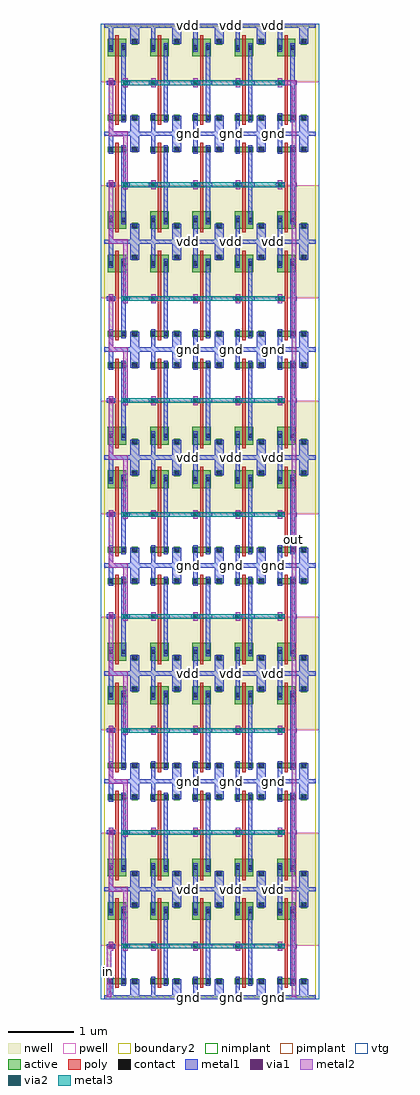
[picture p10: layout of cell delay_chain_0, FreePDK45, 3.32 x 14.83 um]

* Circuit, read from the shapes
.subckt delay_chain_0 gnd in out vdd
M1 pinv_18_1/A in gnd gnd nfet w=0.09u l=0.05u
M2 pinv_18_10/A pinv_18_1/A gnd gnd nfet w=0.09u l=0.05u
M3 pinv_18_11/A pinv_18_10/A gnd gnd nfet w=0.09u l=0.05u
M4 pinv_18_16/A pinv_18_11/A gnd gnd nfet w=0.09u l=0.05u
M5 pinv_18_21/A pinv_18_16/A gnd gnd nfet w=0.09u l=0.05u
M6 pinv_18_26/A pinv_18_21/A gnd gnd nfet w=0.09u l=0.05u
M7 pinv_18_31/A pinv_18_26/A gnd gnd nfet w=0.09u l=0.05u
M8 pinv_18_36/A pinv_18_31/A gnd gnd nfet w=0.09u l=0.05u
M9 out pinv_18_36/A gnd gnd nfet w=0.09u l=0.05u
M10 pinv_18_1/Z pinv_18_1/A gnd gnd nfet w=0.09u l=0.05u
M11 pinv_18_6/Z pinv_18_10/A gnd gnd nfet w=0.09u l=0.05u
M12 pinv_18_11/Z pinv_18_11/A gnd gnd nfet w=0.09u l=0.05u
M13 pinv_18_16/Z pinv_18_16/A gnd gnd nfet w=0.09u l=0.05u
M14 pinv_18_21/Z pinv_18_21/A gnd gnd nfet w=0.09u l=0.05u
M15 pinv_18_26/Z pinv_18_26/A gnd gnd nfet w=0.09u l=0.05u
M16 pinv_18_31/Z pinv_18_31/A gnd gnd nfet w=0.09u l=0.05u
M17 pinv_18_36/Z pinv_18_36/A gnd gnd nfet w=0.09u l=0.05u
M18 pinv_18_41/Z out gnd gnd nfet w=0.09u l=0.05u
M19 pinv_18_2/Z pinv_18_1/A gnd gnd nfet w=0.09u l=0.05u
M20 pinv_18_7/Z pinv_18_10/A gnd gnd nfet w=0.09u l=0.05u
M21 pinv_18_12/Z pinv_18_11/A gnd gnd nfet w=0.09u l=0.05u
M22 pinv_18_17/Z pinv_18_16/A gnd gnd nfet w=0.09u l=0.05u
M23 pinv_18_22/Z pinv_18_21/A gnd gnd nfet w=0.09u l=0.05u
M24 pinv_18_27/Z pinv_18_26/A gnd gnd nfet w=0.09u l=0.05u
M25 pinv_18_32/Z pinv_18_31/A gnd gnd nfet w=0.09u l=0.05u
M26 pinv_18_37/Z pinv_18_36/A gnd gnd nfet w=0.09u l=0.05u
M27 pinv_18_42/Z out gnd gnd nfet w=0.09u l=0.05u
M28 pinv_18_3/Z pinv_18_1/A gnd gnd nfet w=0.09u l=0.05u
M29 pinv_18_8/Z pinv_18_10/A gnd gnd nfet w=0.09u l=0.05u
M30 pinv_18_13/Z pinv_18_11/A gnd gnd nfet w=0.09u l=0.05u
M31 pinv_18_18/Z pinv_18_16/A gnd gnd nfet w=0.09u l=0.05u
M32 pinv_18_23/Z pinv_18_21/A gnd gnd nfet w=0.09u l=0.05u
M33 pinv_18_28/Z pinv_18_26/A gnd gnd nfet w=0.09u l=0.05u
M34 pinv_18_33/Z pinv_18_31/A gnd gnd nfet w=0.09u l=0.05u
M35 pinv_18_38/Z pinv_18_36/A gnd gnd nfet w=0.09u l=0.05u
M36 pinv_18_43/Z out gnd gnd nfet w=0.09u l=0.05u
M37 pinv_18_4/Z pinv_18_1/A gnd gnd nfet w=0.09u l=0.05u
M38 pinv_18_9/Z pinv_18_10/A gnd gnd nfet w=0.09u l=0.05u
M39 pinv_18_14/Z pinv_18_11/A gnd gnd nfet w=0.09u l=0.05u
M40 pinv_18_19/Z pinv_18_16/A gnd gnd nfet w=0.09u l=0.05u
M41 pinv_18_24/Z pinv_18_21/A gnd gnd nfet w=0.09u l=0.05u
M42 pinv_18_29/Z pinv_18_26/A gnd gnd nfet w=0.09u l=0.05u
M43 pinv_18_34/Z pinv_18_31/A gnd gnd nfet w=0.09u l=0.05u
M44 pinv_18_39/Z pinv_18_36/A gnd gnd nfet w=0.09u l=0.05u
M45 pinv_18_44/Z out gnd gnd nfet w=0.09u l=0.05u
M46 pinv_18_1/A in vdd vdd pfet w=0.27u l=0.05u
M47 pinv_18_10/A pinv_18_1/A vdd vdd pfet w=0.27u l=0.05u
M48 pinv_18_11/A pinv_18_10/A vdd vdd pfet w=0.27u l=0.05u
M49 pinv_18_16/A pinv_18_11/A vdd vdd pfet w=0.27u l=0.05u
M50 pinv_18_21/A pinv_18_16/A vdd vdd pfet w=0.27u l=0.05u
M51 pinv_18_26/A pinv_18_21/A vdd vdd pfet w=0.27u l=0.05u
M52 pinv_18_31/A pinv_18_26/A vdd vdd pfet w=0.27u l=0.05u
M53 pinv_18_36/A pinv_18_31/A vdd vdd pfet w=0.27u l=0.05u
M54 out pinv_18_36/A vdd vdd pfet w=0.27u l=0.05u
M55 pinv_18_1/Z pinv_18_1/A vdd vdd pfet w=0.27u l=0.05u
M56 pinv_18_6/Z pinv_18_10/A vdd vdd pfet w=0.27u l=0.05u
M57 pinv_18_11/Z pinv_18_11/A vdd vdd pfet w=0.27u l=0.05u
M58 pinv_18_16/Z pinv_18_16/A vdd vdd pfet w=0.27u l=0.05u
M59 pinv_18_21/Z pinv_18_21/A vdd vdd pfet w=0.27u l=0.05u
M60 pinv_18_26/Z pinv_18_26/A vdd vdd pfet w=0.27u l=0.05u
M61 pinv_18_31/Z pinv_18_31/A vdd vdd pfet w=0.27u l=0.05u
M62 pinv_18_36/Z pinv_18_36/A vdd vdd pfet w=0.27u l=0.05u
M63 pinv_18_41/Z out vdd vdd pfet w=0.27u l=0.05u
M64 pinv_18_2/Z pinv_18_1/A vdd vdd pfet w=0.27u l=0.05u
M65 pinv_18_7/Z pinv_18_10/A vdd vdd pfet w=0.27u l=0.05u
M66 pinv_18_12/Z pinv_18_11/A vdd vdd pfet w=0.27u l=0.05u
M67 pinv_18_17/Z pinv_18_16/A vdd vdd pfet w=0.27u l=0.05u
M68 pinv_18_22/Z pinv_18_21/A vdd vdd pfet w=0.27u l=0.05u
M69 pinv_18_27/Z pinv_18_26/A vdd vdd pfet w=0.27u l=0.05u
M70 pinv_18_32/Z pinv_18_31/A vdd vdd pfet w=0.27u l=0.05u
M71 pinv_18_37/Z pinv_18_36/A vdd vdd pfet w=0.27u l=0.05u
M72 pinv_18_42/Z out vdd vdd pfet w=0.27u l=0.05u
M73 pinv_18_3/Z pinv_18_1/A vdd vdd pfet w=0.27u l=0.05u
M74 pinv_18_8/Z pinv_18_10/A vdd vdd pfet w=0.27u l=0.05u
M75 pinv_18_13/Z pinv_18_11/A vdd vdd pfet w=0.27u l=0.05u
M76 pinv_18_18/Z pinv_18_16/A vdd vdd pfet w=0.27u l=0.05u
M77 pinv_18_23/Z pinv_18_21/A vdd vdd pfet w=0.27u l=0.05u
M78 pinv_18_28/Z pinv_18_26/A vdd vdd pfet w=0.27u l=0.05u
M79 pinv_18_33/Z pinv_18_31/A vdd vdd pfet w=0.27u l=0.05u
M80 pinv_18_38/Z pinv_18_36/A vdd vdd pfet w=0.27u l=0.05u
M81 pinv_18_43/Z out vdd vdd pfet w=0.27u l=0.05u
M82 pinv_18_4/Z pinv_18_1/A vdd vdd pfet w=0.27u l=0.05u
M83 pinv_18_9/Z pinv_18_10/A vdd vdd pfet w=0.27u l=0.05u
M84 pinv_18_14/Z pinv_18_11/A vdd vdd pfet w=0.27u l=0.05u
M85 pinv_18_19/Z pinv_18_16/A vdd vdd pfet w=0.27u l=0.05u
M86 pinv_18_24/Z pinv_18_21/A vdd vdd pfet w=0.27u l=0.05u
M87 pinv_18_29/Z pinv_18_26/A vdd vdd pfet w=0.27u l=0.05u
M88 pinv_18_34/Z pinv_18_31/A vdd vdd pfet w=0.27u l=0.05u
M89 pinv_18_39/Z pinv_18_36/A vdd vdd pfet w=0.27u l=0.05u
M90 pinv_18_44/Z out vdd vdd pfet w=0.27u l=0.05u
.ends

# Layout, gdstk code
import gdstk
lib = gdstk.Library(unit=1e-6, precision=5e-10)
def R(c, l, rs):  # rectangles x0, y0, x1, y1
    for r in rs: c.add(gdstk.rectangle(r[:2], r[2:], *l))
def A(c, l, x, y, w, h, nx, ny, dx, dy):  # array of equal rectangles
    R(c, l, [(x+i*dx, y+j*dy, x+i*dx+w, y+j*dy+h) for i in range(nx) for j in range(ny)])
active = (1, 0)
pwell = (2, 0)
nwell = (3, 0)
nimplant = (4, 0)
pimplant = (5, 0)
vtg = (6, 0)
poly = (9, 0)
contact = (10, 0)
metal1 = (11, 0)
via1 = (12, 0)
metal2 = (13, 0)
via2 = (14, 0)
metal3 = (15, 0)
boundary2 = (239, 0)

contact_11 = lib.new_cell('contact_11')
R(contact_11, active, [(0,0.0225,0.09,0.1125)])
R(contact_11, nwell, [(-0.055,-0.0325,0.145,0.1675)])
R(contact_11, pimplant, [(0,0.0225,0.09,0.1125)])
R(contact_11, contact, [(0.0125,0.035,0.0775,0.1)])
R(contact_11, metal1, [(0.0125,0,0.0775,0.135)])

pmos_m1_w0_270_a_p = lib.new_cell('pmos_m1_w0_270_a_p')
R(pmos_m1_w0_270_a_p, active, [(0,0,0.28,0.27)])
R(pmos_m1_w0_270_a_p, nwell, [(-0.055,-0.055,0.335,0.325)])
R(pmos_m1_w0_270_a_p, pimplant, [(0,0,0.28,0.27)])
R(pmos_m1_w0_270_a_p, vtg, [(-0.055,-0.055,0.335,0.325)])
R(pmos_m1_w0_270_a_p, poly, [(0.115,-0.055,0.165,0.325), (0.115,-0.055,0.165,0.325)])
R(pmos_m1_w0_270_a_p, metal1, [(0.0125,0.0675,0.0775,0.2025), (0.2025,0.0675,0.2675,0.2025)])
R(pmos_m1_w0_270_a_p, boundary2, [(-0.055,-0.055,0.335,0.325)])
pmos_m1_w0_270_a_p.add(gdstk.Reference(contact_11, (0,0.0675)))
pmos_m1_w0_270_a_p.add(gdstk.Reference(contact_11, (0.19,0.0675)))
pmos_m1_w0_270_a_p.add(gdstk.Label('G', (0.14,0.135), layer=9, texttype=0))
pmos_m1_w0_270_a_p.add(gdstk.Label('S', (0.045,0.135), layer=11, texttype=0))
pmos_m1_w0_270_a_p.add(gdstk.Label('D', (0.235,0.135), layer=11, texttype=0))

contact_16 = lib.new_cell('contact_16')
R(contact_16, active, [(0,0.0225,0.09,0.1125)])
R(contact_16, pwell, [(-0.055,-0.0325,0.145,0.1675)])
R(contact_16, nimplant, [(0,0.0225,0.09,0.1125)])
R(contact_16, contact, [(0.0125,0.035,0.0775,0.1)])
R(contact_16, metal1, [(0.0125,0,0.0775,0.135)])

nmos_m1_w0_090_a_p = lib.new_cell('nmos_m1_w0_090_a_p')
R(nmos_m1_w0_090_a_p, active, [(0,0,0.28,0.09)])
R(nmos_m1_w0_090_a_p, pwell, [(-0.055,-0.055,0.335,0.145)])
R(nmos_m1_w0_090_a_p, nimplant, [(0,0,0.28,0.09)])
R(nmos_m1_w0_090_a_p, vtg, [(-0.055,-0.055,0.335,0.145)])
R(nmos_m1_w0_090_a_p, poly, [(0.115,-0.055,0.165,0.145), (0.115,-0.055,0.165,0.145)])
R(nmos_m1_w0_090_a_p, metal1, [(0.0125,-0.0225,0.0775,0.1125), (0.2025,-0.0225,0.2675,0.1125)])
R(nmos_m1_w0_090_a_p, boundary2, [(-0.055,-0.055,0.335,0.145)])
nmos_m1_w0_090_a_p.add(gdstk.Reference(contact_16, (0,-0.0225)))
nmos_m1_w0_090_a_p.add(gdstk.Reference(contact_16, (0.19,-0.0225)))
nmos_m1_w0_090_a_p.add(gdstk.Label('G', (0.14,0.045), layer=9, texttype=0))
nmos_m1_w0_090_a_p.add(gdstk.Label('S', (0.045,0.045), layer=11, texttype=0))
nmos_m1_w0_090_a_p.add(gdstk.Label('D', (0.235,0.045), layer=11, texttype=0))

contact_13 = lib.new_cell('contact_13')
R(contact_13, active, [(0.0225,0,0.1125,0.09)])
R(contact_13, nwell, [(-0.0325,-0.055,0.1675,0.145)])
R(contact_13, nimplant, [(0.0225,0,0.1125,0.09)])
R(contact_13, contact, [(0.035,0.0125,0.1,0.0775)])
R(contact_13, metal1, [(0,0.0125,0.135,0.0775)])

contact_17 = lib.new_cell('contact_17')
R(contact_17, active, [(0.0225,0,0.1125,0.09)])
R(contact_17, pwell, [(-0.0325,-0.055,0.1675,0.145)])
R(contact_17, pimplant, [(0.0225,0,0.1125,0.09)])
R(contact_17, contact, [(0.035,0.0125,0.1,0.0775)])
R(contact_17, metal1, [(0,0.0125,0.135,0.0775)])

contact_12 = lib.new_cell('contact_12')
R(contact_12, poly, [(0.03,0,0.105,0.075)])
R(contact_12, contact, [(0.035,0.005,0.1,0.07)])
R(contact_12, metal1, [(0,0.005,0.135,0.07)])

pinv_18 = lib.new_cell('pinv_18')
R(pinv_18, pwell, [(-0.055,-0.0325,0.6975,0.7875)])
R(pinv_18, nwell, [(-0.055,0.7875,0.6975,1.6725)])
R(pinv_18, vtg, [(-0.055,-0.0325,0.6975,0.7875), (-0.055,0.7875,0.6975,1.6725)])
R(pinv_18, poly, [(0.17,0.34,0.22,1.12), (0.1025,0.7375,0.17,0.8125)])
R(pinv_18, metal1, [(0,-0.0325,0.6425,0.0325), (0.0675,-0.0325,0.1325,0.1725), (0.3925,0,0.5275,0.24), (0.2575,0.1725,0.3225,1.3775), (0.035,0.7425,0.17,0.8075), (0.29,0.7425,0.355,0.8075), (0.0675,1.2425,0.1325,1.6725), (0.3925,1.4,0.5275,1.64), (0,1.6075,0.6425,1.6725)])
R(pinv_18, boundary2, [(0,0,0.6425,1.64)])
pinv_18.add(gdstk.Reference(pmos_m1_w0_270_a_p, (0.055,1.175)))
pinv_18.add(gdstk.Reference(nmos_m1_w0_090_a_p, (0.055,0.195)))
pinv_18.add(gdstk.Reference(contact_13, (0.3925,1.355)))
pinv_18.add(gdstk.Reference(contact_17, (0.3925,0.195)))
pinv_18.add(gdstk.Reference(contact_12, (0.035,0.7375)))
pinv_18.add(gdstk.Label('gnd', (0.321,0), layer=11, texttype=0))
pinv_18.add(gdstk.Label('vdd', (0.321,1.64), layer=11, texttype=0))
pinv_18.add(gdstk.Label('A', (0.1025,0.775), layer=11, texttype=0))
pinv_18.add(gdstk.Label('Z', (0.3225,0.775), layer=11, texttype=0))

contact_19 = lib.new_cell('contact_19')
R(contact_19, metal1, [(0,0.035,0.135,0.1)])
R(contact_19, via1, [(0.035,0.035,0.1,0.1)])
R(contact_19, metal2, [(0.0325,0,0.1025,0.135)])

contact_9 = lib.new_cell('contact_9')
R(contact_9, metal2, [(0.0325,0,0.1025,0.135)])
R(contact_9, via2, [(0.035,0.035,0.1,0.1)])
R(contact_9, metal3, [(0,0.0325,0.135,0.1025)])

contact_7 = lib.new_cell('contact_7')
R(contact_7, metal1, [(0,0.0025,0.135,0.0675)])
R(contact_7, via1, [(0.035,0.0025,0.1,0.0675)])
R(contact_7, metal2, [(0,0,0.135,0.07)])

contact_8 = lib.new_cell('contact_8')
R(contact_8, metal2, [(0,0,0.135,0.07)])
R(contact_8, via2, [(0.035,0.0025,0.1,0.0675)])
R(contact_8, metal3, [(0,0,0.135,0.07)])

delay_chain_0 = lib.new_cell('delay_chain_0')
A(delay_chain_0, metal2, 0.2875, 0.775, 0.07, 0.865, 1, 4, 0, 3.28)
A(delay_chain_0, metal2, 0.0675, 1.605, 0.07, 0.07, 1, 8, 0, 1.64)
A(delay_chain_0, metal2, 0.1025, 1.605, 0.22, 0.07, 1, 8, 0, 1.64)
A(delay_chain_0, metal2, 0.2875, 1.605, 0.07, 0.07, 1, 8, 0, 1.64)
A(delay_chain_0, metal2, 0.0675, 1.64, 0.07, 0.865, 1, 4, 0, 3.28)
A(delay_chain_0, metal2, 0.2875, 2.505, 0.07, 0.775, 1, 4, 0, 3.28)
A(delay_chain_0, metal2, 0.0675, 3.28, 0.07, 0.775, 1, 4, 0, 3.28)
R(delay_chain_0, metal2, [(0.035,0,0.105,0.775), (2.8475,0,2.9175,13.895), (2.8475,0,2.9175,13.895), (2.6725,13.86,2.8825,13.93), (2.8475,13.86,2.9175,13.93)])
A(delay_chain_0, metal3, 1.2175, -0.035, 0.135, 0.07, 3, 10, 0.6425, 1.64)
R(delay_chain_0, metal3, [(0.3225,0.74,2.6725,0.81), (0.3225,2.47,2.6725,2.54), (0.3225,4.02,2.6725,4.09), (0.3225,5.75,2.6725,5.82), (0.3225,7.3,2.6725,7.37), (0.3225,9.03,2.6725,9.1), (0.3225,10.58,2.6725,10.65), (0.3225,12.31,2.6725,12.38), (0.3225,13.86,2.6725,13.93)])
R(delay_chain_0, boundary2, [(0,0,3.2125,14.76)])
delay_chain_0.add(gdstk.Reference(pinv_18, (0,0)))
delay_chain_0.add(gdstk.Reference(pinv_18, (0.6425,0)))
delay_chain_0.add(gdstk.Reference(pinv_18, (1.285,0)))
delay_chain_0.add(gdstk.Reference(pinv_18, (1.9275,0)))
delay_chain_0.add(gdstk.Reference(pinv_18, (2.57,0)))
delay_chain_0.add(gdstk.Reference(pinv_18, (0,3.28), x_reflection=True))
delay_chain_0.add(gdstk.Reference(pinv_18, (0.6425,3.28), x_reflection=True))
delay_chain_0.add(gdstk.Reference(pinv_18, (1.285,3.28), x_reflection=True))
delay_chain_0.add(gdstk.Reference(pinv_18, (1.9275,3.28), x_reflection=True))
delay_chain_0.add(gdstk.Reference(pinv_18, (2.57,3.28), x_reflection=True))
delay_chain_0.add(gdstk.Reference(pinv_18, (0,3.28)))
delay_chain_0.add(gdstk.Reference(pinv_18, (0.6425,3.28)))
delay_chain_0.add(gdstk.Reference(pinv_18, (1.285,3.28)))
delay_chain_0.add(gdstk.Reference(pinv_18, (1.9275,3.28)))
delay_chain_0.add(gdstk.Reference(pinv_18, (2.57,3.28)))
delay_chain_0.add(gdstk.Reference(pinv_18, (0,6.56), x_reflection=True))
delay_chain_0.add(gdstk.Reference(pinv_18, (0.6425,6.56), x_reflection=True))
delay_chain_0.add(gdstk.Reference(pinv_18, (1.285,6.56), x_reflection=True))
delay_chain_0.add(gdstk.Reference(pinv_18, (1.9275,6.56), x_reflection=True))
delay_chain_0.add(gdstk.Reference(pinv_18, (2.57,6.56), x_reflection=True))
delay_chain_0.add(gdstk.Reference(pinv_18, (0,6.56)))
delay_chain_0.add(gdstk.Reference(pinv_18, (0.6425,6.56)))
delay_chain_0.add(gdstk.Reference(pinv_18, (1.285,6.56)))
delay_chain_0.add(gdstk.Reference(pinv_18, (1.9275,6.56)))
delay_chain_0.add(gdstk.Reference(pinv_18, (2.57,6.56)))
delay_chain_0.add(gdstk.Reference(pinv_18, (0,9.84), x_reflection=True))
delay_chain_0.add(gdstk.Reference(pinv_18, (0.6425,9.84), x_reflection=True))
delay_chain_0.add(gdstk.Reference(pinv_18, (1.285,9.84), x_reflection=True))
delay_chain_0.add(gdstk.Reference(pinv_18, (1.9275,9.84), x_reflection=True))
delay_chain_0.add(gdstk.Reference(pinv_18, (2.57,9.84), x_reflection=True))
delay_chain_0.add(gdstk.Reference(pinv_18, (0,9.84)))
delay_chain_0.add(gdstk.Reference(pinv_18, (0.6425,9.84)))
delay_chain_0.add(gdstk.Reference(pinv_18, (1.285,9.84)))
delay_chain_0.add(gdstk.Reference(pinv_18, (1.9275,9.84)))
delay_chain_0.add(gdstk.Reference(pinv_18, (2.57,9.84)))
delay_chain_0.add(gdstk.Reference(pinv_18, (0,13.12), x_reflection=True))
delay_chain_0.add(gdstk.Reference(pinv_18, (0.6425,13.12), x_reflection=True))
delay_chain_0.add(gdstk.Reference(pinv_18, (1.285,13.12), x_reflection=True))
delay_chain_0.add(gdstk.Reference(pinv_18, (1.9275,13.12), x_reflection=True))
delay_chain_0.add(gdstk.Reference(pinv_18, (2.57,13.12), x_reflection=True))
delay_chain_0.add(gdstk.Reference(pinv_18, (0,13.12)))
delay_chain_0.add(gdstk.Reference(pinv_18, (0.6425,13.12)))
delay_chain_0.add(gdstk.Reference(pinv_18, (1.285,13.12)))
delay_chain_0.add(gdstk.Reference(pinv_18, (1.9275,13.12)))
delay_chain_0.add(gdstk.Reference(pinv_18, (2.57,13.12)))
delay_chain_0.add(gdstk.Reference(contact_19, (0.6775,0.7075)))
delay_chain_0.add(gdstk.Reference(contact_9, (0.6775,0.7075)))
delay_chain_0.add(gdstk.Reference(contact_19, (1.32,0.7075)))
delay_chain_0.add(gdstk.Reference(contact_9, (1.32,0.7075)))
delay_chain_0.add(gdstk.Reference(contact_19, (1.9625,0.7075)))
delay_chain_0.add(gdstk.Reference(contact_9, (1.9625,0.7075)))
delay_chain_0.add(gdstk.Reference(contact_19, (2.605,0.7075)))
delay_chain_0.add(gdstk.Reference(contact_9, (2.605,0.7075)))
delay_chain_0.add(gdstk.Reference(contact_19, (0.035,0.7075)))
delay_chain_0.add(gdstk.Reference(contact_19, (0.255,0.7075)))
delay_chain_0.add(gdstk.Reference(contact_9, (0.255,0.7075)))
delay_chain_0.add(gdstk.Reference(contact_19, (0.6775,2.4375)))
delay_chain_0.add(gdstk.Reference(contact_9, (0.6775,2.4375)))
delay_chain_0.add(gdstk.Reference(contact_19, (1.32,2.4375)))
delay_chain_0.add(gdstk.Reference(contact_9, (1.32,2.4375)))
delay_chain_0.add(gdstk.Reference(contact_19, (1.9625,2.4375)))
delay_chain_0.add(gdstk.Reference(contact_9, (1.9625,2.4375)))
delay_chain_0.add(gdstk.Reference(contact_19, (2.605,2.4375)))
delay_chain_0.add(gdstk.Reference(contact_9, (2.605,2.4375)))
delay_chain_0.add(gdstk.Reference(contact_19, (0.035,2.4375)))
delay_chain_0.add(gdstk.Reference(contact_19, (0.255,2.4375)))
delay_chain_0.add(gdstk.Reference(contact_9, (0.255,2.4375)))
delay_chain_0.add(gdstk.Reference(contact_19, (0.6775,3.9875)))
delay_chain_0.add(gdstk.Reference(contact_9, (0.6775,3.9875)))
delay_chain_0.add(gdstk.Reference(contact_19, (1.32,3.9875)))
delay_chain_0.add(gdstk.Reference(contact_9, (1.32,3.9875)))
delay_chain_0.add(gdstk.Reference(contact_19, (1.9625,3.9875)))
delay_chain_0.add(gdstk.Reference(contact_9, (1.9625,3.9875)))
delay_chain_0.add(gdstk.Reference(contact_19, (2.605,3.9875)))
delay_chain_0.add(gdstk.Reference(contact_9, (2.605,3.9875)))
delay_chain_0.add(gdstk.Reference(contact_19, (0.035,3.9875)))
delay_chain_0.add(gdstk.Reference(contact_19, (0.255,3.9875)))
delay_chain_0.add(gdstk.Reference(contact_9, (0.255,3.9875)))
delay_chain_0.add(gdstk.Reference(contact_19, (0.6775,5.7175)))
delay_chain_0.add(gdstk.Reference(contact_9, (0.6775,5.7175)))
delay_chain_0.add(gdstk.Reference(contact_19, (1.32,5.7175)))
delay_chain_0.add(gdstk.Reference(contact_9, (1.32,5.7175)))
delay_chain_0.add(gdstk.Reference(contact_19, (1.9625,5.7175)))
delay_chain_0.add(gdstk.Reference(contact_9, (1.9625,5.7175)))
delay_chain_0.add(gdstk.Reference(contact_19, (2.605,5.7175)))
delay_chain_0.add(gdstk.Reference(contact_9, (2.605,5.7175)))
delay_chain_0.add(gdstk.Reference(contact_19, (0.035,5.7175)))
delay_chain_0.add(gdstk.Reference(contact_19, (0.255,5.7175)))
delay_chain_0.add(gdstk.Reference(contact_9, (0.255,5.7175)))
delay_chain_0.add(gdstk.Reference(contact_19, (0.6775,7.2675)))
delay_chain_0.add(gdstk.Reference(contact_9, (0.6775,7.2675)))
delay_chain_0.add(gdstk.Reference(contact_19, (1.32,7.2675)))
delay_chain_0.add(gdstk.Reference(contact_9, (1.32,7.2675)))
delay_chain_0.add(gdstk.Reference(contact_19, (1.9625,7.2675)))
delay_chain_0.add(gdstk.Reference(contact_9, (1.9625,7.2675)))
delay_chain_0.add(gdstk.Reference(contact_19, (2.605,7.2675)))
delay_chain_0.add(gdstk.Reference(contact_9, (2.605,7.2675)))
delay_chain_0.add(gdstk.Reference(contact_19, (0.035,7.2675)))
delay_chain_0.add(gdstk.Reference(contact_19, (0.255,7.2675)))
delay_chain_0.add(gdstk.Reference(contact_9, (0.255,7.2675)))
delay_chain_0.add(gdstk.Reference(contact_19, (0.6775,8.9975)))
delay_chain_0.add(gdstk.Reference(contact_9, (0.6775,8.9975)))
delay_chain_0.add(gdstk.Reference(contact_19, (1.32,8.9975)))
delay_chain_0.add(gdstk.Reference(contact_9, (1.32,8.9975)))
delay_chain_0.add(gdstk.Reference(contact_19, (1.9625,8.9975)))
delay_chain_0.add(gdstk.Reference(contact_9, (1.9625,8.9975)))
delay_chain_0.add(gdstk.Reference(contact_19, (2.605,8.9975)))
delay_chain_0.add(gdstk.Reference(contact_9, (2.605,8.9975)))
delay_chain_0.add(gdstk.Reference(contact_19, (0.035,8.9975)))
delay_chain_0.add(gdstk.Reference(contact_19, (0.255,8.9975)))
delay_chain_0.add(gdstk.Reference(contact_9, (0.255,8.9975)))
delay_chain_0.add(gdstk.Reference(contact_19, (0.6775,10.5475)))
delay_chain_0.add(gdstk.Reference(contact_9, (0.6775,10.5475)))
delay_chain_0.add(gdstk.Reference(contact_19, (1.32,10.5475)))
delay_chain_0.add(gdstk.Reference(contact_9, (1.32,10.5475)))
delay_chain_0.add(gdstk.Reference(contact_19, (1.9625,10.5475)))
delay_chain_0.add(gdstk.Reference(contact_9, (1.9625,10.5475)))
delay_chain_0.add(gdstk.Reference(contact_19, (2.605,10.5475)))
delay_chain_0.add(gdstk.Reference(contact_9, (2.605,10.5475)))
delay_chain_0.add(gdstk.Reference(contact_19, (0.035,10.5475)))
delay_chain_0.add(gdstk.Reference(contact_19, (0.255,10.5475)))
delay_chain_0.add(gdstk.Reference(contact_9, (0.255,10.5475)))
delay_chain_0.add(gdstk.Reference(contact_19, (0.6775,12.2775)))
delay_chain_0.add(gdstk.Reference(contact_9, (0.6775,12.2775)))
delay_chain_0.add(gdstk.Reference(contact_19, (1.32,12.2775)))
delay_chain_0.add(gdstk.Reference(contact_9, (1.32,12.2775)))
delay_chain_0.add(gdstk.Reference(contact_19, (1.9625,12.2775)))
delay_chain_0.add(gdstk.Reference(contact_9, (1.9625,12.2775)))
delay_chain_0.add(gdstk.Reference(contact_19, (2.605,12.2775)))
delay_chain_0.add(gdstk.Reference(contact_9, (2.605,12.2775)))
delay_chain_0.add(gdstk.Reference(contact_19, (0.035,12.2775)))
delay_chain_0.add(gdstk.Reference(contact_19, (0.255,12.2775)))
delay_chain_0.add(gdstk.Reference(contact_9, (0.255,12.2775)))
delay_chain_0.add(gdstk.Reference(contact_19, (0.6775,13.8275)))
delay_chain_0.add(gdstk.Reference(contact_9, (0.6775,13.8275)))
delay_chain_0.add(gdstk.Reference(contact_19, (1.32,13.8275)))
delay_chain_0.add(gdstk.Reference(contact_9, (1.32,13.8275)))
delay_chain_0.add(gdstk.Reference(contact_19, (1.9625,13.8275)))
delay_chain_0.add(gdstk.Reference(contact_9, (1.9625,13.8275)))
delay_chain_0.add(gdstk.Reference(contact_19, (2.605,13.8275)))
delay_chain_0.add(gdstk.Reference(contact_9, (2.605,13.8275)))
delay_chain_0.add(gdstk.Reference(contact_19, (0.035,13.8275)))
delay_chain_0.add(gdstk.Reference(contact_19, (0.255,13.8275)))
delay_chain_0.add(gdstk.Reference(contact_9, (0.255,13.8275)))
delay_chain_0.add(gdstk.Reference(contact_7, (1.2175,1.605)))
delay_chain_0.add(gdstk.Reference(contact_8, (1.2175,1.605)))
delay_chain_0.add(gdstk.Reference(contact_7, (1.2175,-0.035)))
delay_chain_0.add(gdstk.Reference(contact_8, (1.2175,-0.035)))
delay_chain_0.add(gdstk.Reference(contact_7, (1.86,1.605)))
delay_chain_0.add(gdstk.Reference(contact_8, (1.86,1.605)))
delay_chain_0.add(gdstk.Reference(contact_7, (1.86,-0.035)))
delay_chain_0.add(gdstk.Reference(contact_8, (1.86,-0.035)))
delay_chain_0.add(gdstk.Reference(contact_7, (2.5025,1.605)))
delay_chain_0.add(gdstk.Reference(contact_8, (2.5025,1.605)))
delay_chain_0.add(gdstk.Reference(contact_7, (2.5025,-0.035)))
delay_chain_0.add(gdstk.Reference(contact_8, (2.5025,-0.035)))
delay_chain_0.add(gdstk.Reference(contact_7, (1.2175,4.885)))
delay_chain_0.add(gdstk.Reference(contact_8, (1.2175,4.885)))
delay_chain_0.add(gdstk.Reference(contact_7, (1.2175,3.245)))
delay_chain_0.add(gdstk.Reference(contact_8, (1.2175,3.245)))
delay_chain_0.add(gdstk.Reference(contact_7, (1.86,4.885)))
delay_chain_0.add(gdstk.Reference(contact_8, (1.86,4.885)))
delay_chain_0.add(gdstk.Reference(contact_7, (1.86,3.245)))
delay_chain_0.add(gdstk.Reference(contact_8, (1.86,3.245)))
delay_chain_0.add(gdstk.Reference(contact_7, (2.5025,4.885)))
delay_chain_0.add(gdstk.Reference(contact_8, (2.5025,4.885)))
delay_chain_0.add(gdstk.Reference(contact_7, (2.5025,3.245)))
delay_chain_0.add(gdstk.Reference(contact_8, (2.5025,3.245)))
delay_chain_0.add(gdstk.Reference(contact_7, (1.2175,8.165)))
delay_chain_0.add(gdstk.Reference(contact_8, (1.2175,8.165)))
delay_chain_0.add(gdstk.Reference(contact_7, (1.2175,6.525)))
delay_chain_0.add(gdstk.Reference(contact_8, (1.2175,6.525)))
delay_chain_0.add(gdstk.Reference(contact_7, (1.86,8.165)))
delay_chain_0.add(gdstk.Reference(contact_8, (1.86,8.165)))
delay_chain_0.add(gdstk.Reference(contact_7, (1.86,6.525)))
delay_chain_0.add(gdstk.Reference(contact_8, (1.86,6.525)))
delay_chain_0.add(gdstk.Reference(contact_7, (2.5025,8.165)))
delay_chain_0.add(gdstk.Reference(contact_8, (2.5025,8.165)))
delay_chain_0.add(gdstk.Reference(contact_7, (2.5025,6.525)))
delay_chain_0.add(gdstk.Reference(contact_8, (2.5025,6.525)))
delay_chain_0.add(gdstk.Reference(contact_7, (1.2175,11.445)))
delay_chain_0.add(gdstk.Reference(contact_8, (1.2175,11.445)))
delay_chain_0.add(gdstk.Reference(contact_7, (1.2175,9.805)))
delay_chain_0.add(gdstk.Reference(contact_8, (1.2175,9.805)))
delay_chain_0.add(gdstk.Reference(contact_7, (1.86,11.445)))
delay_chain_0.add(gdstk.Reference(contact_8, (1.86,11.445)))
delay_chain_0.add(gdstk.Reference(contact_7, (1.86,9.805)))
delay_chain_0.add(gdstk.Reference(contact_8, (1.86,9.805)))
delay_chain_0.add(gdstk.Reference(contact_7, (2.5025,11.445)))
delay_chain_0.add(gdstk.Reference(contact_8, (2.5025,11.445)))
delay_chain_0.add(gdstk.Reference(contact_7, (2.5025,9.805)))
delay_chain_0.add(gdstk.Reference(contact_8, (2.5025,9.805)))
delay_chain_0.add(gdstk.Reference(contact_7, (1.2175,14.725)))
delay_chain_0.add(gdstk.Reference(contact_8, (1.2175,14.725)))
delay_chain_0.add(gdstk.Reference(contact_7, (1.2175,13.085)))
delay_chain_0.add(gdstk.Reference(contact_8, (1.2175,13.085)))
delay_chain_0.add(gdstk.Reference(contact_7, (1.86,14.725)))
delay_chain_0.add(gdstk.Reference(contact_8, (1.86,14.725)))
delay_chain_0.add(gdstk.Reference(contact_7, (1.86,13.085)))
delay_chain_0.add(gdstk.Reference(contact_8, (1.86,13.085)))
delay_chain_0.add(gdstk.Reference(contact_7, (2.5025,14.725)))
delay_chain_0.add(gdstk.Reference(contact_8, (2.5025,14.725)))
delay_chain_0.add(gdstk.Reference(contact_7, (2.5025,13.085)))
delay_chain_0.add(gdstk.Reference(contact_8, (2.5025,13.085)))
delay_chain_0.add(gdstk.Reference(contact_7, (1.2175,13.085)))
delay_chain_0.add(gdstk.Reference(contact_8, (1.2175,13.085)))
delay_chain_0.add(gdstk.Reference(contact_7, (1.86,13.085)))
delay_chain_0.add(gdstk.Reference(contact_8, (1.86,13.085)))
delay_chain_0.add(gdstk.Reference(contact_7, (2.5025,13.085)))
delay_chain_0.add(gdstk.Reference(contact_8, (2.5025,13.085)))
delay_chain_0.add(gdstk.Reference(contact_19, (0.035,0.7075)))
delay_chain_0.add(gdstk.Reference(contact_19, (2.605,13.8275)))
delay_chain_0.add(gdstk.Label('vdd', (1.9275,11.48), layer=15, texttype=0))
delay_chain_0.add(gdstk.Label('vdd', (1.285,4.92), layer=15, texttype=0))
delay_chain_0.add(gdstk.Label('vdd', (2.57,4.92), layer=15, texttype=0))
delay_chain_0.add(gdstk.Label('vdd', (1.9275,4.92), layer=15, texttype=0))
delay_chain_0.add(gdstk.Label('vdd', (2.57,1.64), layer=15, texttype=0))
delay_chain_0.add(gdstk.Label('vdd', (1.285,11.48), layer=15, texttype=0))
delay_chain_0.add(gdstk.Label('vdd', (2.57,8.2), layer=15, texttype=0))
delay_chain_0.add(gdstk.Label('vdd', (1.285,14.76), layer=15, texttype=0))
delay_chain_0.add(gdstk.Label('vdd', (1.9275,14.76), layer=15, texttype=0))
delay_chain_0.add(gdstk.Label('vdd', (2.57,11.48), layer=15, texttype=0))
delay_chain_0.add(gdstk.Label('vdd', (1.9275,1.64), layer=15, texttype=0))
delay_chain_0.add(gdstk.Label('vdd', (2.57,14.76), layer=15, texttype=0))
delay_chain_0.add(gdstk.Label('vdd', (1.9275,8.2), layer=15, texttype=0))
delay_chain_0.add(gdstk.Label('vdd', (1.285,1.64), layer=15, texttype=0))
delay_chain_0.add(gdstk.Label('vdd', (1.285,8.2), layer=15, texttype=0))
delay_chain_0.add(gdstk.Label('gnd', (2.57,0), layer=15, texttype=0))
delay_chain_0.add(gdstk.Label('gnd', (1.285,6.56), layer=15, texttype=0))
delay_chain_0.add(gdstk.Label('gnd', (1.9275,13.12), layer=15, texttype=0))
delay_chain_0.add(gdstk.Label('gnd', (2.57,6.56), layer=15, texttype=0))
delay_chain_0.add(gdstk.Label('gnd', (1.9275,6.56), layer=15, texttype=0))
delay_chain_0.add(gdstk.Label('gnd', (1.9275,9.84), layer=15, texttype=0))
delay_chain_0.add(gdstk.Label('gnd', (2.57,13.12), layer=15, texttype=0))
delay_chain_0.add(gdstk.Label('gnd', (1.285,9.84), layer=15, texttype=0))
delay_chain_0.add(gdstk.Label('gnd', (1.9275,0), layer=15, texttype=0))
delay_chain_0.add(gdstk.Label('gnd', (1.285,13.12), layer=15, texttype=0))
delay_chain_0.add(gdstk.Label('gnd', (2.57,9.84), layer=15, texttype=0))
delay_chain_0.add(gdstk.Label('gnd', (1.285,3.28), layer=15, texttype=0))
delay_chain_0.add(gdstk.Label('gnd', (2.57,3.28), layer=15, texttype=0))
delay_chain_0.add(gdstk.Label('gnd', (1.9275,3.28), layer=15, texttype=0))
delay_chain_0.add(gdstk.Label('gnd', (1.285,0), layer=15, texttype=0))
delay_chain_0.add(gdstk.Label('in', (0.07,0.3875), layer=13, texttype=0))
delay_chain_0.add(gdstk.Label('out', (2.8825,6.9475), layer=13, texttype=0))

lib.write_gds('delay_chain_0.gds')
